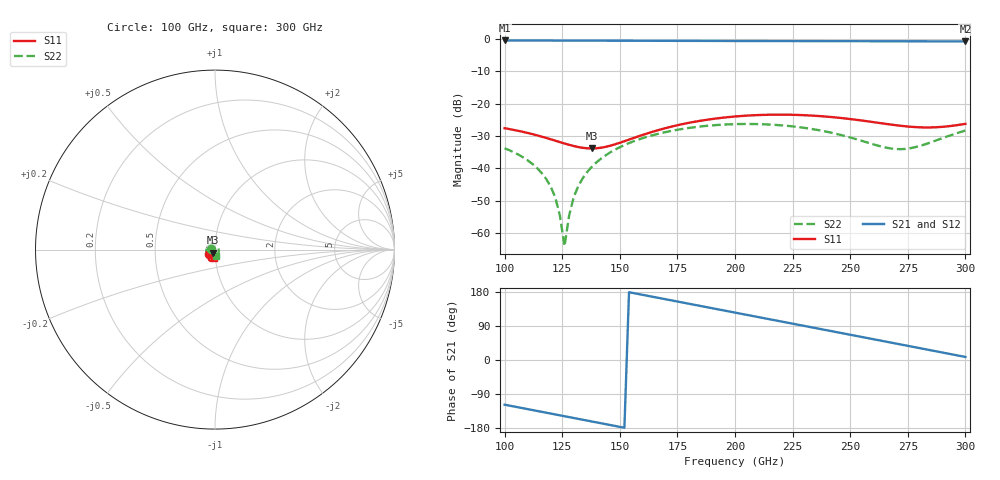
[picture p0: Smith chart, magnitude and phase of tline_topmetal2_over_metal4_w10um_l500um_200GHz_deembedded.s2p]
! Created with skrf 2.0.1 (http://scikit-rf.org).
# GHz S DB R 50.0
!freq dBS11 angS11 dBS21 angS21 dBS12 angS12 dBS22 angS22
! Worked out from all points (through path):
!   101 points, 100 GHz to 300 GHz, reference 50 ohm
!   highest |S21| = -0.45 dB at 100 GHz (marker M1); lowest = -0.7 dB at 300 GHz (marker M2)
!   group delay of S21, straight-line fit = 3.25 ps
!   lowest |S11| = -33.9 dB at 138 GHz (marker M3), VSWR 1.04, Z = 49 - j1.73 ohm
!   |S11| at or under -10 dB: start of sweep to end of sweep
!   |S22| runs from -64.1 to -26.3 dB; largest |S21 - S12| = 1.1e-14
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100  -27.60 -143.5  -0.45 -117.9  -0.45 -117.9  -33.80 167.2
110  -29.06 -147.6  -0.46 -129.6  -0.46 -129.6  -37.53 152.6
114  -29.79 -148.0  -0.47 -134.3  -0.47 -134.3  -39.86 147.3
118  -30.59 -147.3  -0.48 -139.0  -0.48 -139.0  -43.23 142.9
122  -31.45 -145.4  -0.48 -143.7  -0.48 -143.7  -49.02 141.7
124  -31.88 -143.8  -0.49 -146.0  -0.49 -146.0  -54.59 148.1
126  -32.31 -141.7  -0.49 -148.4  -0.49 -148.4  -64.08 -145.4
128  -32.72 -139.2  -0.49 -150.7  -0.49 -150.7  -54.61 -77.2
130  -33.10 -136.1  -0.50 -153.0  -0.50 -153.0  -48.92 -70.6
134  -33.66 -128.4  -0.50 -157.7  -0.50 -157.7  -42.94 -71.6
138  -33.86 -119.4  -0.51 -162.4  -0.51 -162.4  -39.41 -75.9
144  -33.33 -106.0  -0.52 -169.4  -0.52 -169.4  -35.91 -83.8
150  -32.09 -96.0  -0.53 -176.4  -0.53 -176.4  -33.47 -92.2
168  -27.92 -87.9  -0.56 162.5  -0.56 162.5  -29.09 -118.5
184  -25.41 -93.3  -0.59 143.8  -0.59 143.8  -27.14 -142.4
200  -23.97 -102.2  -0.61 125.1  -0.61 125.1  -26.33 -166.9
218  -23.40 -112.8  -0.64 104.1  -0.64 104.1  -26.59 164.1
234  -23.71 -120.8  -0.66 85.4  -0.66 85.4  -27.91 135.4
250  -24.76 -125.5  -0.68 66.7  -0.68 66.7  -30.45 99.8
268  -26.49 -122.3  -0.70 45.6  -0.70 45.6  -33.90 36.0
278  -27.23 -114.8  -0.71 33.9  -0.71 33.9  -33.50 -11.0
300  -26.24 -93.9  -0.74 8.0  -0.74 8.0  -28.31 -82.3
